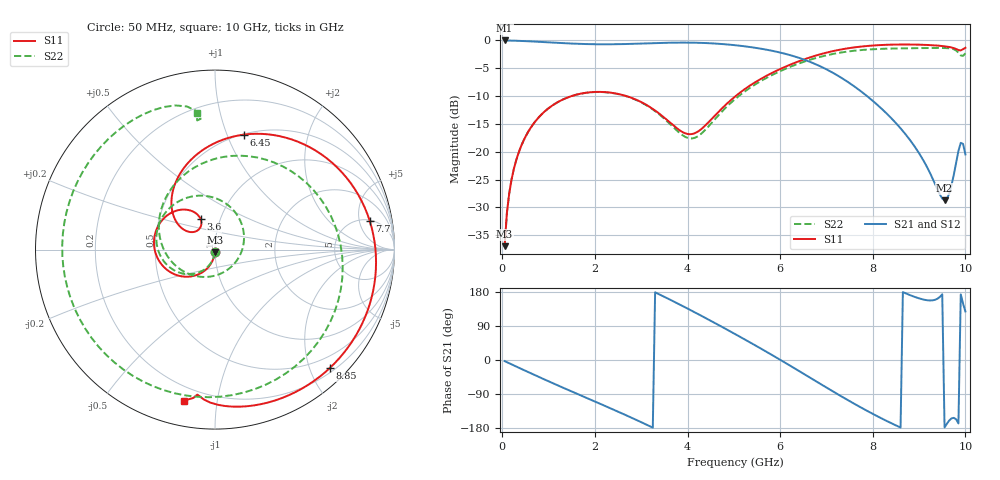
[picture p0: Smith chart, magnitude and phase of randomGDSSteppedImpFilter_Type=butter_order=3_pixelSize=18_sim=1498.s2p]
! freq	dB(S11)	phase(S11)	dB(S12)	phase(S12)
!  dB(S21)	phase(S21)	dB(S22)	phase(S22)
!S-par simulation data
#  GHz  S  DB  R 50
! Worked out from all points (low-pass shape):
!   200 points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, 50 MHz to 10 GHz, reference 50 ohm
!   highest |S21| = 0.00 dB at 50 MHz (marker M1); lowest = -28.7 dB at 9.55 GHz (marker M2)
!   |S21| within 3 dB of the highest: start of sweep to 6.361 GHz
!   lowest |S11| = -36.9 dB at 50 MHz (marker M3), VSWR 1.03, Z = 49.9 - j1.42 ohm
!   |S11| at or under -10 dB: start of sweep to 1.492 GHz; 2.683 GHz to 5.038 GHz (2.355 GHz wide, 61 % of centre)
!   |S22| runs from -36.9 to -1.3 dB; largest |S21 - S12| = 0
!   S11 on the Smith chart (normalised r, x): 50 MHz: 1.00, -0.03; 3.6 GHz: 0.81, +0.28; 6.45 GHz: 0.51, +1.15; 7.7 GHz: 5.11, +7.13; 8.85 GHz: 0.27, -2.33; 10 GHz: 0.13, -0.81
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0.05  -36.94 -92.6  -0.00 -2.9  -0.00 -2.9  -36.95 -92.9
0.2  -24.96 -101.1  -0.03 -11.5  -0.03 -11.5  -24.97 -102.4
0.5  -17.30 -117.5  -0.12 -28.5  -0.12 -28.5  -17.30 -120.6
1.15  -11.31 -151.1  -0.41 -64.4  -0.41 -64.4  -11.31 -159.0
1.75  -9.47 179.9  -0.64 -96.4  -0.64 -96.4  -9.48 166.1
2.7  -10.04 138.3  -0.64 -147.3  -0.64 -147.3  -10.08 106.5
3.4  -13.21 116.6  -0.45 172.6  -0.45 172.6  -13.36 49.3
3.6  -14.59 115.3  -0.41 160.6  -0.41 160.6  -14.84 27.1
4.05  -16.84 130.1  -0.39 132.6  -0.39 132.6  -17.60 -44.3
4.4  -15.14 145.6  -0.47 110.1  -0.47 110.1  -15.91 -107.7
5.05  -9.91 138.2  -0.88 66.9  -0.88 66.9  -10.38 172.4
5.75  -6.15 109.8  -1.73 18.5  -1.73 18.5  -6.53 104.1
6.1  -4.76 93.3  -2.38 -6.6  -2.38 -6.6  -5.15 70.3
6.45  -3.60 75.9  -3.25 -32.2  -3.25 -32.2  -4.01 36.2
6.7  -2.90 63.0  -4.03 -50.6  -4.03 -50.6  -3.33 11.7
7.15  -1.90 39.4  -5.86 -83.6  -5.86 -83.6  -2.41 -31.8
7.7  -1.14 10.6  -8.85 -122.3  -8.85 -122.3  -1.76 -83.1
8.35  -0.77 -21.9  -13.54 -163.9  -13.54 -163.9  -1.47 -140.2
8.85  -0.73 -46.0  -18.40 169.0  -18.40 169.0  -1.39 178.1
9.55  -1.05 -80.9  -28.73 -177.9  -28.73 -177.9  -1.36 122.0
9.9  -1.79 -97.0  -18.38 173.1  -18.38 173.1  -2.70 96.3
10  -1.32 -101.6  -20.47 128.2  -20.47 128.2  -2.31 97.5
